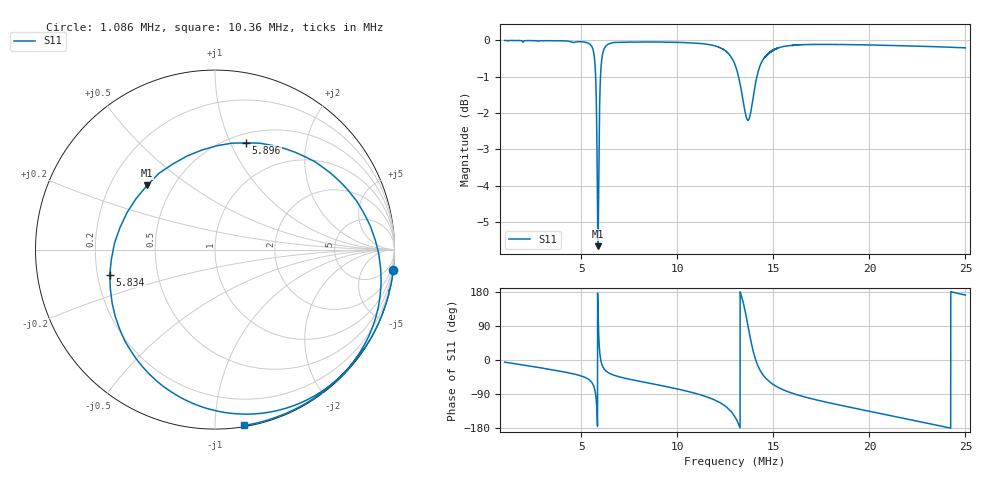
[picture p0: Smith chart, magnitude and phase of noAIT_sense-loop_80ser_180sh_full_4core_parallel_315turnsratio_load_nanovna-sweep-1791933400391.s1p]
! NanoVNA Web complex sweep
! Processing: unaveraged complex samples; linear segment spacing; no smoothing
# Hz S RI R 50
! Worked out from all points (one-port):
!   5050 points, 1 MHz to 25 MHz, reference 50 ohm
!   lowest |S11| = -5.7 dB at 5.862 MHz (marker M1), VSWR 3.17, Z = 18 + j17.6 ohm
!   |S11| at or under -10 dB: nowhere
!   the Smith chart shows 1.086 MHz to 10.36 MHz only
!   S11 on the Smith chart (normalised r, x): 1.086 MHz: 0, -18; 5.834 MHz: 0.25, -0.11; 5.896 MHz: 0.59, +1.15; 10.36 MHz: 0.01, -1.18
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1000000  0.9946 -0.0998
1085554  0.9933 -0.1115
4003896  0.86 -0.5071
5268194  0.6673 -0.7357
5515350  0.5277 -0.8296
5653187  0.3178 -0.903
5757753  -0.1217 -0.8578
5833801  -0.5865 -0.1395
5862319  -0.3785 0.3574
5895590  0.1732 0.5949
5966885  0.8253 0.2107
6076204  0.9238 -0.2152
6347125  0.8391 -0.5179
7003039  0.705 -0.7005
1.000218e7  0.2314 -0.9663
1.035866e7  0.1619 -0.9797
1.218381e7  -0.3609 -0.9088
1.300132e7  -0.8047 -0.4566
1.336255e7  -0.8123 0.2256
1.364773e7  -0.1071 0.7694
1.388063e7  0.6475 0.4919
1.408976e7  0.8779 -0.027
1.436544e7  0.7863 -0.4983
1.47124e7  0.5664 -0.7726
1.600047e7  0.035 -0.983
1.899961e7  -0.5634 -0.8098
2.199875e7  -0.8969 -0.4011
2.49979e7  -0.9656 0.1457
